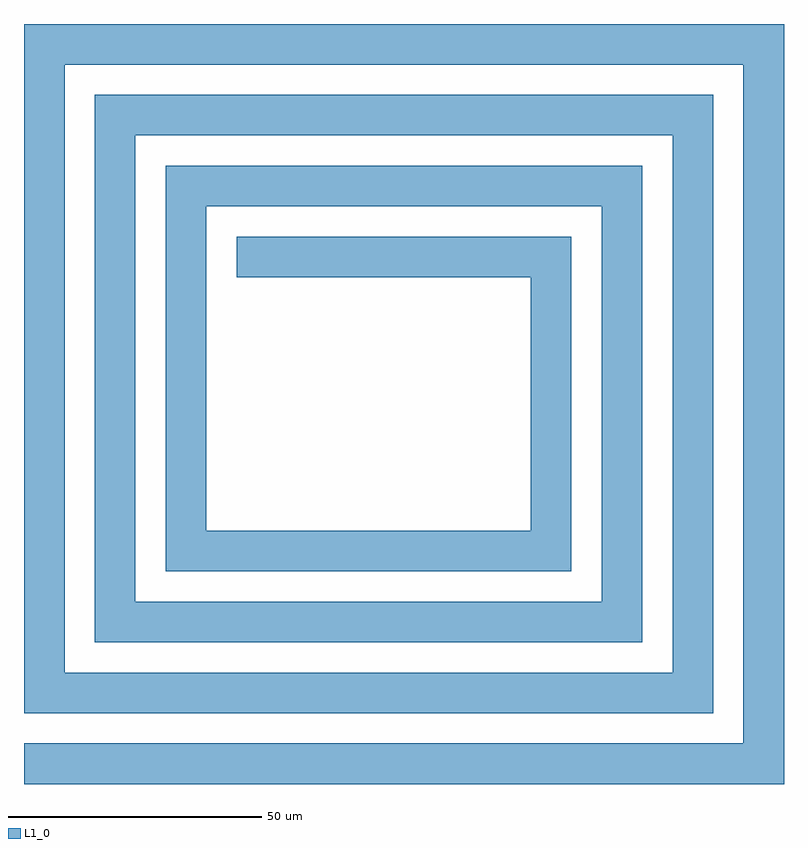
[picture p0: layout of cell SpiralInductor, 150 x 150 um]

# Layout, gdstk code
import gdstk
lib = gdstk.Library(unit=1e-6, precision=1e-09)
def R(c, l, rs):  # rectangles x0, y0, x1, y1
    for r in rs: c.add(gdstk.rectangle(r[:2], r[2:], *l))
L1_0 = (1, 0)

spiralinductor = lib.new_cell('SpiralInductor')
R(spiralinductor, L1_0, [(0,0,150,8), (142,0,150,150), (0,14,8,150), (0,14,22,22), (14,14,136,22), (128,14,136,136), (14,28,36,36), (14,28,22,136), (28,28,122,36), (114,28,122,122), (28,42,50,50), (28,42,36,122), (42,42,108,50), (100,42,108,108), (42,100,108,108), (28,114,122,122), (14,128,136,136), (0,142,150,150)])

lib.write_gds('SpiralInductor.gds')
